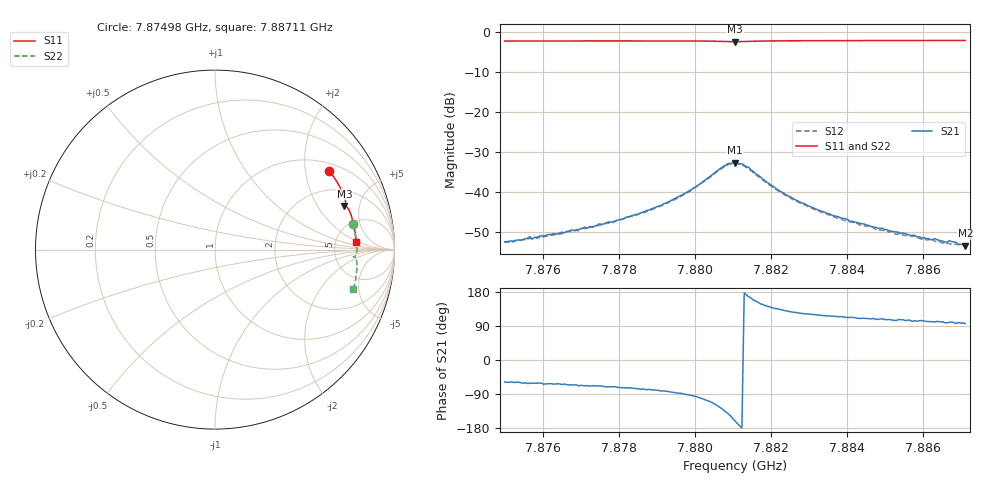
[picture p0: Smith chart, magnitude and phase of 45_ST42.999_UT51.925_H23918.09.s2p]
#  HZ  S  DB  R  50.00
! Rohde & Schwarz Vector Network Analyzer
! Rohde-Schwarz,ZNB20-2Port,1311601062101988,3.16
! Created: UTC 1/12/2023, 6:32:28 PM
! freq[Hz]  db:S11  ang:S11  db:S21  ang:S21  db:S12  ang:S12  db:S22  ang:S22
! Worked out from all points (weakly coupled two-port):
!   201 points, 7.87498 GHz to 7.88711 GHz, reference 50 ohm
!   highest |S21| = -32.65 dB at 7.88105 GHz (marker M1); lowest = -53.4 dB at 7.88711 GHz (marker M2)
!   lowest |S11| = -2.4 dB at 7.88105 GHz (marker M3), VSWR 7.36, Z = 154 + j178 ohm
!   |S11| at or under -10 dB: nowhere
!   |S22| runs from -2.3 to -1.9 dB; largest |S21 - S12| = 0.0019
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7.874983e9  -2.23 34.6  -52.46 -58.4  -52.54 -61.0  -2.14 10.6
7.875165e9  -2.22 34.1  -52.24 -57.5  -52.78 -62.3  -2.14 10.1
7.875226e9  -2.22 33.9  -52.42 -59.4  -52.16 -63.4  -2.13 10.0
7.87565e9  -2.21 32.8  -51.18 -61.5  -51.68 -63.5  -2.12 9.0
7.875711e9  -2.21 32.6  -51.82 -61.1  -51.66 -65.7  -2.12 8.8
7.877045e9  -2.19 29.0  -49.05 -67.3  -49.08 -70.0  -2.08 5.8
7.877834e9  -2.18 26.8  -47.50 -71.2  -47.67 -75.6  -2.06 3.9
7.879047e9  -2.17 23.4  -43.53 -80.3  -43.63 -84.0  -2.05 1.0
7.879896e9  -2.20 20.9  -39.42 -93.5  -39.60 -96.9  -2.06 -1.1
7.880867e9  -2.36 18.6  -32.85 -141.5  -33.19 -145.9  -2.23 -3.1
7.881049e9  -2.37 18.6  -32.65 -160.9  -32.83 -163.6  -2.25 -3.0
7.881412e9  -2.30 18.4  -33.84 166.9  -34.29 163.4  -2.17 -3.0
7.88214e9  -2.17 16.4  -39.23 135.2  -39.43 131.4  -2.04 -4.7
7.883111e9  -2.12 13.6  -43.97 119.9  -44.25 116.5  -1.98 -7.0
7.884081e9  -2.10 11.0  -47.38 112.3  -47.47 108.7  -1.95 -9.2
7.885112e9  -2.09 8.3  -49.75 107.0  -50.03 103.2  -1.93 -11.5
7.886204e9  -2.08 5.4  -51.97 101.5  -52.16 98.5  -1.92 -13.9
7.886265e9  -2.08 5.3  -51.83 100.4  -51.89 98.8  -1.92 -14.1
7.886325e9  -2.08 5.1  -51.71 100.7  -52.45 99.8  -1.92 -14.2
7.886629e9  -2.08 4.3  -52.60 98.0  -52.88 96.8  -1.92 -14.8
7.886689e9  -2.08 4.1  -52.20 99.4  -52.89 96.3  -1.92 -14.9
7.887114e9  -2.07 3.0  -53.44 96.0  -53.57 96.7  -1.92 -15.9
